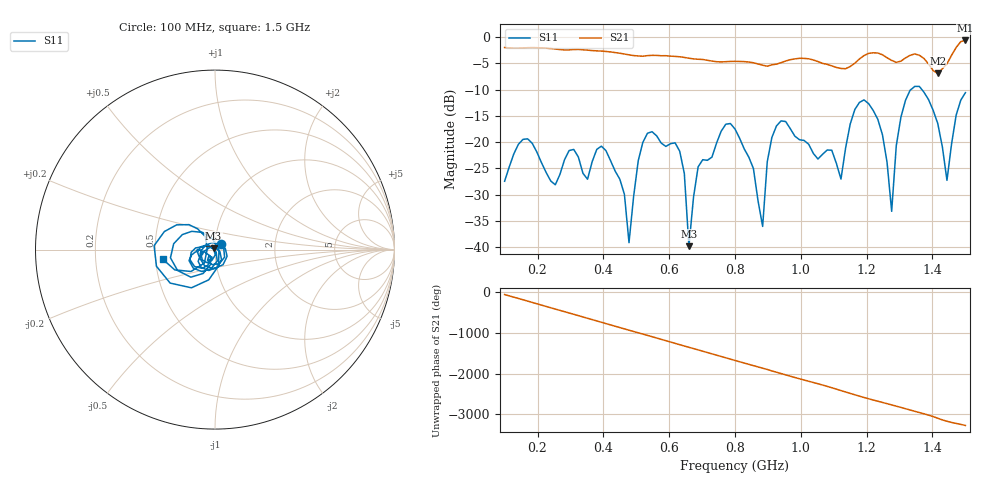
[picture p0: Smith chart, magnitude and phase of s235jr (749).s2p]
! NanoVNA-App
! Date: 2025-09-25 15:10:00
! Start: 100MHz Stop: 1,5GHz Points: 101
! S-Parameter data: F S11 S21 S12 S22
# Hz S RI R 50
!  Frequency  S11_Real  S11_Imag  S21_Real  S21_Imag  S12_Real  S12_Imag  S22_Real  S22_Imag
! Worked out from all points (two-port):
!   101 points, 100 MHz to 1.5 GHz, reference 50 ohm
!   highest |S21| = -0.62 dB at 1.5 GHz (marker M1); lowest = -6.9 dB at 1.416 GHz (marker M2)
!   |S21| within 3 dB of the highest: start of sweep to 518.7 MHz; 520.5 MHz to 606.3 MHz (85.81 MHz wide, 15.2 % of centre) (the widest 2 of 5)
!   lowest |S11| = -39.9 dB at 660 MHz (marker M3), VSWR 1.02, Z = 49.2 + j0.627 ohm
!   |S11| at or under -10 dB: start of sweep to 1.334 GHz; 1.368 GHz to end of sweep
!   S12 and S22 are empty: the file has one direction only
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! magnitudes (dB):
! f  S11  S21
! 100 MHz  -27.5  -2.0
! 170 MHz  -19.4  -2.0
! 338 MHz  -26.0  -2.4
! 408 MHz  -21.6  -2.7
! 478 MHz  -39.2  -3.4
! 520 MHz  -20.1  -3.6
! 576 MHz  -20.2  -3.5
! 632 MHz  -21.7  -3.7
! 660 MHz  -39.9  -4.0
! 688 MHz  -24.7  -4.2
! 800 MHz  -17.5  -4.6
! 884 MHz  -36.1  -5.3
! 926 MHz  -16.9  -5.1
! 1.038 GHz  -22.2  -4.3
! 1.122 GHz  -27.1  -6.0
! 1.192 GHz  -12.0  -3.5
! 1.248 GHz  -18.6  -3.3
! 1.276 GHz  -33.2  -4.4
! 1.332 GHz  -10.1  -3.5
! 1.416 GHz  -16.4  -6.9
! 1.444 GHz  -27.3  -5.1
! 1.5 GHz  -10.6  -0.6
